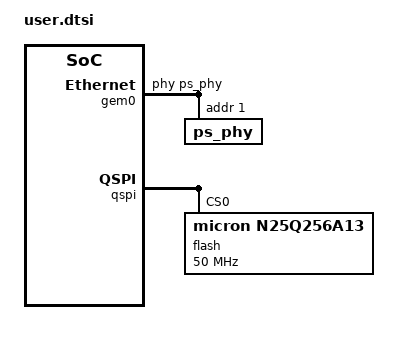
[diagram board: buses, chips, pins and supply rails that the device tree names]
/{
	clocks{
		ad9361_clkin: clock@0 {
			compatible = "fixed-clock";
			clock-frequency = <40000000>;
			clock-output-names = "ad9361_ext_refclk";
			#clock-cells = <0>;
		};
	};

	data_acquisition:data_acquisition@43c20024{
                        compatible = "none,data-acquisition";
                        reg = <0x43c20024 0x4>;
                        dmas = <&data_collect_dma 0x00>;
                        dma-names = "rx";
        };
};


&gem0{
	local-mac-address = [00 0a 35 00 00 01];
        phy-handle = <&ps_phy>;
        ps_phy:ps_phy@1{
                reg = <0x1>;
                device_type = "ethernet_phy";
        	compatiable="realtek,RTL8211E";
	};
};

&qspi{
	compatible = "xlnx,zynq-qspi-1.0";
	num-cs = <2>;	
	flash@0{
		compatible = "micron,n25q256a13","jedec,spi-nor";
		reg = <0x0>,<0x1>;
		#address-cells = <0x1>;
		#size-cells = <0x1>;
		spi-max-frequency = <50000000>;
		status = "okay";
		parallel-memories = /bits/ 64 <0x10000000 0x10000000>;
	};	
};
&data_collect_dma{
	#dma-cells = <0x01>;
	interrupts = <0 31 4>;
	adi,channels {
		#size-cells = <0>;
		#address-cells = <1>;
		dma-channel@0{
			reg = <0>;
			adi,source-bus-width=<32>;
			adi,source-bus-type=<2>;
			adi,destination-bus-width=<32>;
			adi,destination-bus-type=<0>;
		};
	};
};
